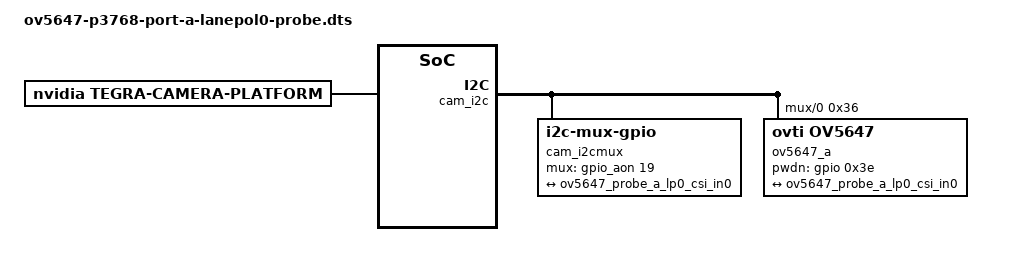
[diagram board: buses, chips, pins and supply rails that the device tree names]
/dts-v1/;
/plugin/;

/ {
	overlay-name = "OV5647 probe route A lane-polarity 0 for p3768/p3767";
	jetson-header-name = "Jetson 22pin CSI Connector";
	compatible =
		"nvidia,p3768-0000+p3767-0000",
		"nvidia,p3768-0000+p3767-0001",
		"nvidia,p3768-0000+p3767-0003",
		"nvidia,p3768-0000+p3767-0004",
		"nvidia,p3768-0000+p3767-0005";

	/*
	 * Probe-oriented route-A lane-polarity diagnostic.
	 *
	 * This file intentionally differs from ov5647-p3768-port-a-probe.dts
	 * only in lane_polarity and traceable names/badges. It is a controlled
	 * no-SOF experiment for the CLB/makerobo carrier after route A with
	 * lane_polarity 6 and route C with lane_polarity 0 both reached STREAMON
	 * but delivered no SOF/NVCSI events.
	 *
	 * Current assumptions:
	 * - physical test path remains Jetson cam0 / route A
	 * - cam_i2cmux/i2c@0
	 * - serial_b / port-index 1 / 2 lanes
	 * - lane_polarity is forced to 0 for this one experiment
	 * - OV5647 SCCB address 0x36
	 * - no dedicated reset GPIO is modeled yet
	 * - shared power-down GPIO token 0x3e is used as the current candidate
	 * - supplies stay in string form for the local scaffold driver
	 * - only one minimal 640x480 mode is described
	 */

	fragment@0 {
		target-path = "/";

		__overlay__ {
			tegra-capture-vi {
				num-channels = <1>;

				ports {
					#address-cells = <1>;
					#size-cells = <0>;

					port@0 {
						reg = <0>;

						ov5647_probe_a_lp0_vi_in0: endpoint {
							port-index = <1>;
							bus-width = <2>;
							remote-endpoint = <&ov5647_probe_a_lp0_csi_out0>;
						};
					};
				};
			};

			tegra-camera-platform {
				compatible = "nvidia, tegra-camera-platform";

				modules {
					module0 {
						badge = "probe_ov5647_route_a_lanepol0";
						position = "front";
						orientation = "1";

						drivernode0 {
							pcl_id = "v4l2_sensor";
							sysfs-device-tree =
								"/sys/firmware/devicetree/base/bus@0/cam_i2cmux/i2c@0/ov5647_a@36";
						};
					};
				};
			};

			bus@0 {
				host1x@13e00000 {
					nvcsi@15a00000 {
						num-channels = <1>;
						#address-cells = <1>;
						#size-cells = <0>;

						channel@0 {
							reg = <0>;

							ports {
								#address-cells = <1>;
								#size-cells = <0>;

								port@0 {
									reg = <0>;

									ov5647_probe_a_lp0_csi_in0: endpoint@0 {
										port-index = <1>;
										bus-width = <2>;
										remote-endpoint = <&ov5647_probe_a_lp0_out0>;
									};
								};

								port@1 {
									reg = <1>;

									ov5647_probe_a_lp0_csi_out0: endpoint@1 {
										remote-endpoint = <&ov5647_probe_a_lp0_vi_in0>;
									};
								};
							};
						};
					};
				};

				cam_i2cmux {
					status = "okay";
					compatible = "i2c-mux-gpio";
					#address-cells = <1>;
					#size-cells = <0>;
					mux-gpios = <&gpio_aon 19 0>;
					i2c-parent = <&cam_i2c>;

					i2c@0 {
						status = "okay";
						reg = <0>;
						#address-cells = <1>;
						#size-cells = <0>;

						ov5647_a@36 {
							status = "okay";
							compatible = "ovti,ov5647";
							reg = <0x36>;
							devnode = "video0";
							physical_w = "3.674";
							physical_h = "2.738";
							sensor_model = "ov5647";
							use_sensor_mode_id = "true";
							mclk = "extperiph1";
							/* TEGRA234_CLK_EXTPERIPH1 = 36 / 0x24. */
							clocks = <&bpmp 0x24>;
							clock-names = "extperiph1";
							avdd-reg = "vana";
							dvdd-reg = "vdig";
							iovdd-reg = "vif";
							pwdn-gpios = <&gpio 0x3e 0>;

							mode0 {
								mclk_khz = "24000";
								num_lanes = "2";
								tegra_sinterface = "serial_b";
								lane_polarity = "0";
								phy_mode = "DPHY";
								discontinuous_clk = "yes";
								dpcm_enable = "false";
								cil_settletime = "0";
								active_w = "640";
								active_h = "480";
								mode_type = "bayer";
								pixel_phase = "bggr";
								csi_pixel_bit_depth = "10";
								readout_orientation = "0";
								line_length = "1852";
								inherent_gain = "1";
								mclk_multiplier = "2.43";
								pix_clk_hz = "58333000";
								gain_factor = "16";
								framerate_factor = "1000000";
								exposure_factor = "1000000";
								min_gain_val = "16";
								max_gain_val = "1023";
								step_gain_val = "1";
								default_gain = "32";
								min_hdr_ratio = "1";
								max_hdr_ratio = "1";
								min_framerate = "5000000";
								max_framerate = "60000000";
								step_framerate = "1";
								default_framerate = "60000000";
								min_exp_time = "13";
								max_exp_time = "16000";
								step_exp_time = "1";
								default_exp_time = "1000";
								embedded_metadata_height = "0";
							};

							ports {
								#address-cells = <1>;
								#size-cells = <0>;

								port@0 {
									reg = <0>;

									ov5647_probe_a_lp0_out0: endpoint {
										port-index = <1>;
										bus-width = <2>;
										remote-endpoint = <&ov5647_probe_a_lp0_csi_in0>;
									};
								};
							};
						};
					};
				};
			};
		};
	};
};
